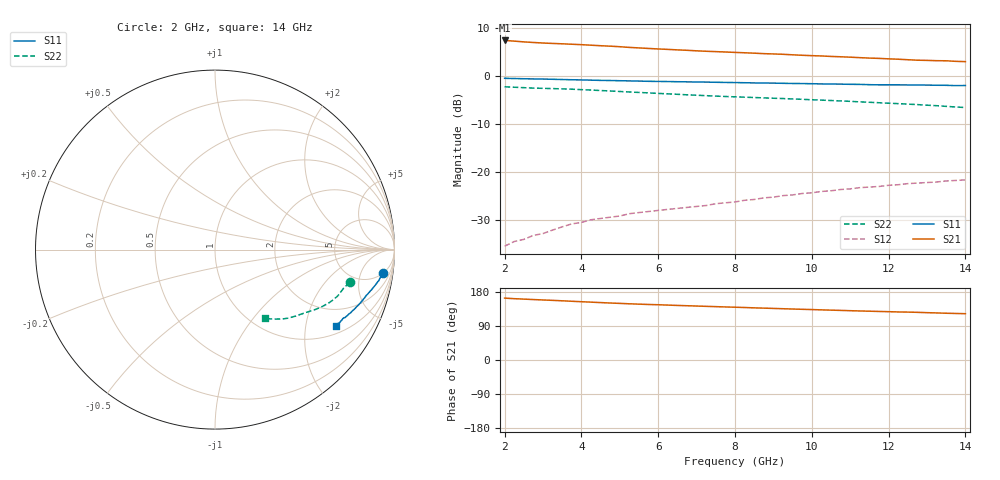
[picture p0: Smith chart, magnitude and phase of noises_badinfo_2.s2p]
# GHZ MA R 50
! operator :
! test name:
! test rev :
! procstep :
! part  :
! lot  :
! wafer  :
! serial  :
! row:  0, y_offset:  0
! col:  0, x_offset:  0
! Vg  =  .550 V  Ig  =  0.000 mA
! Vd  =  1.000 V  Id  =  4.474 mA
! Measurement Date: 23 Oct 2001 16:58:33
!  RAW S-PAR DATA
! Freq  S11  S21  S12  S22
! (GHz)  Mag  Ang  Mag  Ang  Mag  Ang  Mag  Ang
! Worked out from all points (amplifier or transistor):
!   49 points, 2 GHz to 14 GHz, reference 50 ohm
!   highest |S21| = 7.4 dB at 2 GHz (marker M1)
!   |S21| within 3 dB of that: start of sweep to 9.537 GHz
!   unconditionally stable (mu >= 1): 6.066 GHz to end of sweep
!   at 4 GHz: K = 0.81, MSG = 18.5 dB, |S12| = -30.5 dB
!   at 8 GHz: K = 1.10, MAG = 13.6 dB, |S12| = -26.2 dB
!   at 14 GHz: K = 1.31, MAG = 9.0 dB, |S12| = -21.6 dB
!   lowest NFmin = 2.11 dB at 2.75 GHz
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2  0.946 -8.0  2.341 163.3  0.017 75.5  0.772 -13.7
2.25  0.941 -8.7  2.305 161.8  0.019 74.1  0.764 -14.7
2.5  0.936 -9.4  2.262 160.7  0.02 73.5  0.756 -15.6
2.75  0.932 -10.0  2.23 159.5  0.022 73.0  0.748 -16.7
3  0.929 -10.7  2.202 158.4  0.023 72.8  0.744 -17.7
3.75  0.914 -12.6  2.139 155.0  0.029 70.6  0.729 -21.0
4  0.91 -13.1  2.116 153.8  0.03 70.1  0.721 -22.1
4.25  0.905 -13.7  2.09 152.7  0.032 69.1  0.714 -23.2
4.75  0.897 -14.7  2.042 150.4  0.034 67.6  0.698 -25.4
5  0.893 -15.3  2.015 149.4  0.035 67.2  0.69 -26.3
5.25  0.889 -15.8  1.982 148.3  0.037 66.6  0.682 -27.3
6  0.878 -17.4  1.91 145.8  0.04 66.1  0.659 -29.9
7  0.866 -19.4  1.826 142.4  0.044 65.5  0.631 -33.0
8  0.854 -21.5  1.759 139.3  0.049 65.9  0.607 -35.8
9.25  0.839 -23.9  1.681 135.3  0.057 65.4  0.583 -39.5
10  0.831 -25.3  1.627 133.1  0.061 64.4  0.566 -41.9
11  0.819 -27.2  1.569 130.1  0.067 62.8  0.545 -45.0
12  0.809 -29.0  1.507 127.5  0.073 61.0  0.521 -47.9
12.75  0.806 -29.9  1.459 125.8  0.077 60.0  0.504 -50.1
13.5  0.8 -31.3  1.439 123.4  0.081 57.9  0.483 -52.7
13.75  0.794 -32.1  1.42 122.8  0.082 57.1  0.476 -53.2
14  0.796 -32.2  1.41 122.2  0.083 56.6  0.47 -54.0
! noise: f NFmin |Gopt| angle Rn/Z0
2  2.29  0.86  2.8  3.3
3.25  2.25  0.82  5  2.9
4.5  2.55  0.79  6.6  2.87
6  2.13  0.85  9.6  2.63
7.25  2.79  0.78  10.3  2.63
8.5  3.03  0.75  12.2  2.53
10  3.87  0.86  7  8.29
11.25  3.14  0.72  14.7  2.46
12.5  3.37  0.7  17.7  2.39
14  3.54  0.68  21  2.31
